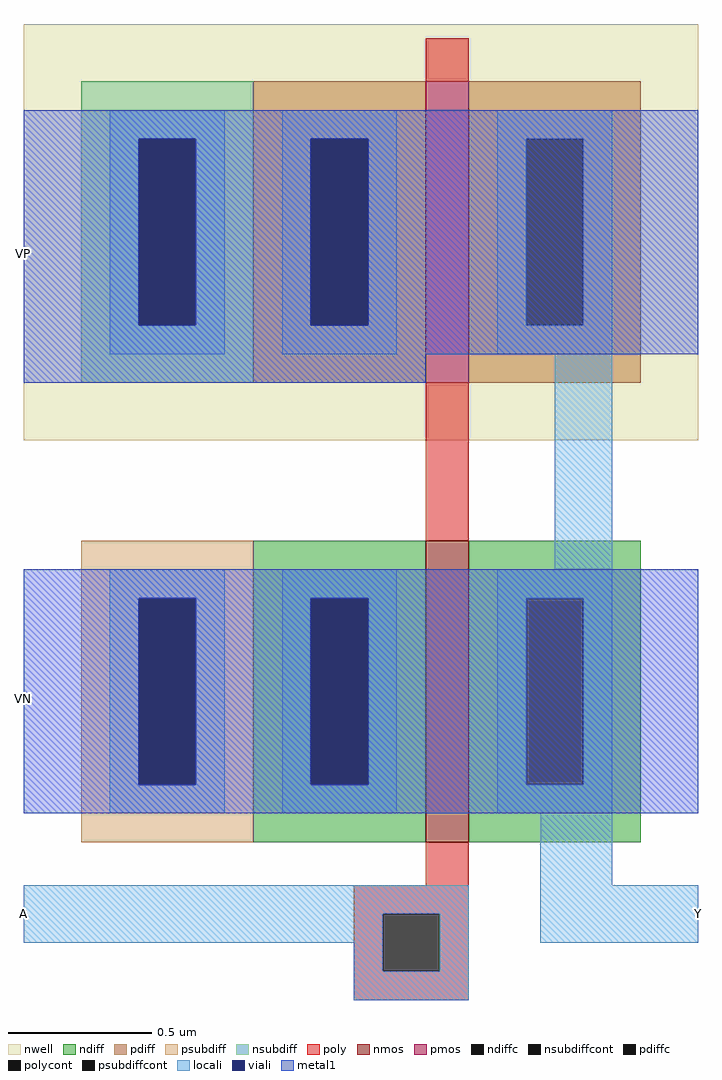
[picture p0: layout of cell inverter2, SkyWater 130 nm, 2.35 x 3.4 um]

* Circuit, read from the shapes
.subckt inverter2 A Y VP VN
XM1 Y A VN VN sky130_fd_pr__nfet_01v8 w=1.05 l=0.15
XM2 Y A VP VP sky130_fd_pr__pfet_01v8 w=1.05 l=0.15
.ends

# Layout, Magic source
magic
tech sky130A
<< nwell >>
rect -140 45 95 190
<< nmos >>
rect 0 -95 15 10
<< pmos >>
rect 0 65 15 170
<< ndiff >>
rect -60 -10 0 10
rect -60 -75 -40 -10
rect -20 -75 0 -10
rect -60 -95 0 -75
rect 15 -10 75 10
rect 15 -75 35 -10
rect 55 -75 75 -10
rect 15 -95 75 -75
<< pdiff >>
rect -60 150 0 170
rect -60 85 -40 150
rect -20 85 0 150
rect -60 65 0 85
rect 15 150 75 170
rect 15 85 35 150
rect 55 85 75 150
rect 15 65 75 85
<< ndiffc >>
rect -40 -75 -20 -10
rect 35 -75 55 -10
<< pdiffc >>
rect -40 85 -20 150
rect 35 85 55 150
<< psubdiff >>
rect -120 -10 -60 10
rect -120 -75 -100 -10
rect -80 -75 -60 -10
rect -120 -95 -60 -75
<< nsubdiff >>
rect -120 150 -60 170
rect -120 85 -100 150
rect -80 85 -60 150
rect -120 65 -60 85
<< psubdiffcont >>
rect -100 -75 -80 -10
<< nsubdiffcont >>
rect -100 85 -80 150
<< poly >>
rect 0 170 15 185
rect 0 10 15 65
rect 0 -110 15 -95
rect -25 -120 15 -110
rect -25 -140 -15 -120
rect 5 -140 15 -120
rect -25 -150 15 -140
<< polycont >>
rect -15 -140 5 -120
<< locali >>
rect -110 150 -70 160
rect -110 85 -100 150
rect -80 85 -70 150
rect -110 75 -70 85
rect -50 150 -10 160
rect -50 85 -40 150
rect -20 85 -10 150
rect -50 75 -10 85
rect 25 150 65 160
rect 25 85 35 150
rect 55 85 65 150
rect 25 75 65 85
rect 45 0 65 75
rect -110 -10 -70 0
rect -110 -75 -100 -10
rect -80 -75 -70 -10
rect -110 -85 -70 -75
rect -50 -10 -10 0
rect -50 -75 -40 -10
rect -20 -75 -10 -10
rect -50 -85 -10 -75
rect 25 -10 65 0
rect 25 -75 35 -10
rect 55 -75 65 -10
rect 25 -85 65 -75
rect 40 -110 65 -85
rect -140 -120 15 -110
rect -140 -130 -15 -120
rect -25 -140 -15 -130
rect 5 -140 15 -120
rect 40 -130 95 -110
rect -25 -150 15 -140
<< viali >>
rect -100 85 -80 150
rect -40 85 -20 150
rect -100 -75 -80 -10
rect -40 -75 -20 -10
<< metal1 >>
rect -140 150 95 160
rect -140 85 -100 150
rect -80 85 -40 150
rect -20 85 95 150
rect -140 75 95 85
rect -140 65 0 75
rect -140 -10 95 0
rect -140 -75 -100 -10
rect -80 -75 -40 -10
rect -20 -75 95 -10
rect -140 -85 95 -75
<< labels >>
rlabel locali -140 -120 -140 -120 7 A
port 1 w
rlabel locali 95 -120 95 -120 3 Y
port 2 e
rlabel metal1 -140 110 -140 110 7 VP
port 3 w
rlabel metal1 -140 -45 -140 -45 7 VN
port 4 w
<< end >>
